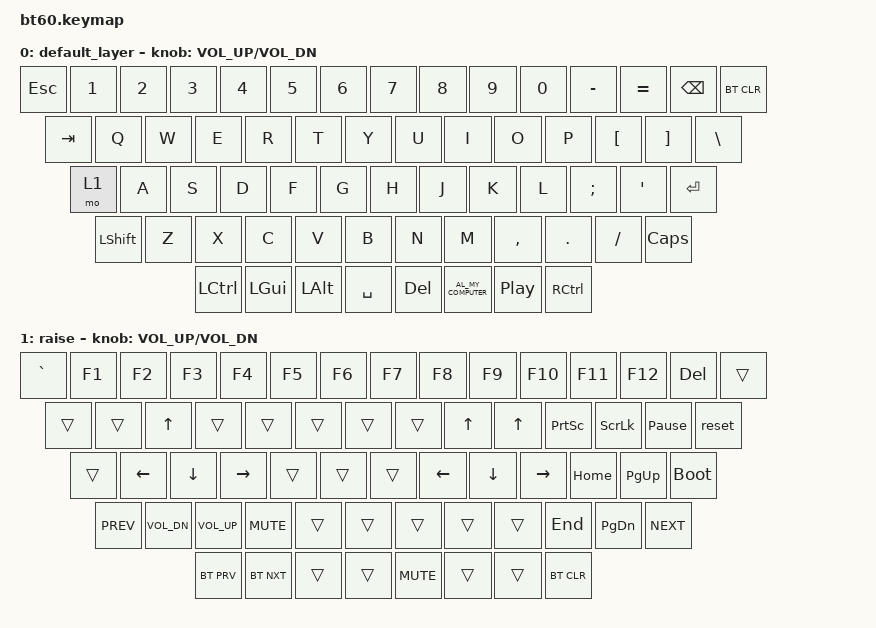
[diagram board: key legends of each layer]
#include <behaviors.dtsi>
#include <dt-bindings/zmk/keys.h>
#include <dt-bindings/zmk/bt.h>

/ {
	keymap {
		compatible = "zmk,keymap";

		default_layer {
				// ------------------------------------------------------------------------------------------
				// | ESC |  1  |  2  |  3  |  4  |  5  |  6  |  7  |  8  |  9  |  0  |  -  |  =  |   BKSP   | DEL
				// | TAB  |  Q  |  W  |  E  |  R  |  T  |  Y  |  U  |  I  |  O  |  P  |  [  |  ]  |   |    |
				// | MO  |  A  |  S  |  D  |  F  |  G  |  H  |  J  |  K  |  L  |  ;  |  '  |     ENTER    |
				// |  SHIFT    |  Z  |  X  |  C  |  V  |  B  |  N  |  M  |  ,  |  .  | /   |      CAPS    |
				// |  CTL  |  WIN  |  ALT  |            SPACE               | DEL | MC   |  P/P    |  CTRL    |
				// ------------------------------------------------------------------------------------------
			bindings = <
				&kp ESC &kp N1 &kp N2 &kp N3 &kp N4 &kp N5 &kp N6 &kp N7 &kp  N8   &kp  N9 &kp  N0  &kp MINUS &kp EQUAL &kp BSPC &bt BT_CLR
				&kp TAB  &kp Q  &kp W  &kp E  &kp R  &kp T  &kp Y  &kp U  &kp  I    &kp  O  &kp  P   &kp LBKT &kp RBKT  &kp BSLH
				&mo 1   &kp A  &kp S  &kp D  &kp F  &kp G  &kp H  &kp J  &kp  K    &kp  L  &kp SEMI &kp SQT           &kp RET
				&kp LSHFT  &kp Z  &kp X  &kp C  &kp V  &kp B  &kp N  &kp M  &kp COMMA &kp DOT &kp FSLH             &kp CLCK
				&kp LCTRL &kp LGUI &kp LALT            &kp SPACE                          &kp DEL  &kp C_AL_MY_COMPUTER &kp C_PLAY_PAUSE &kp RCTRL
			>;
			sensor-bindings = <&inc_dec_kp C_VOL_UP C_VOL_DN>;
		};
		raise {
			bindings = <
				&kp GRAVE &kp F1 &kp F2 &kp F3 &kp F4 &kp F5 &kp F6 &kp F7 &kp  F8   &kp  F9 &kp  F10  &kp F11 &kp F12   &kp DEL &trans
				&trans &trans &kp UP &trans &trans &trans &trans &trans &kp UP &kp UP &kp PSCRN &kp SLCK &kp PAUSE_BREAK &reset
				&trans    &kp LEFT &kp DOWN &kp RIGHT &trans &trans &trans &kp LEFT &kp DOWN &kp RIGHT &kp HOME  &kp PG_UP   &bootloader
				&kp C_PREV &kp C_VOL_DN &kp C_VOL_UP &kp C_MUTE &trans &trans &trans &trans &trans &kp END &kp PG_DN  &kp C_NEXT
				&bt BT_PRV &bt BT_NXT  &trans              &trans                            &kp C_MUTE   &trans   &trans &bt BT_CLR
			>;
			sensor-bindings = <&inc_dec_kp C_VOL_UP C_VOL_DN>;
		};
	};
};
